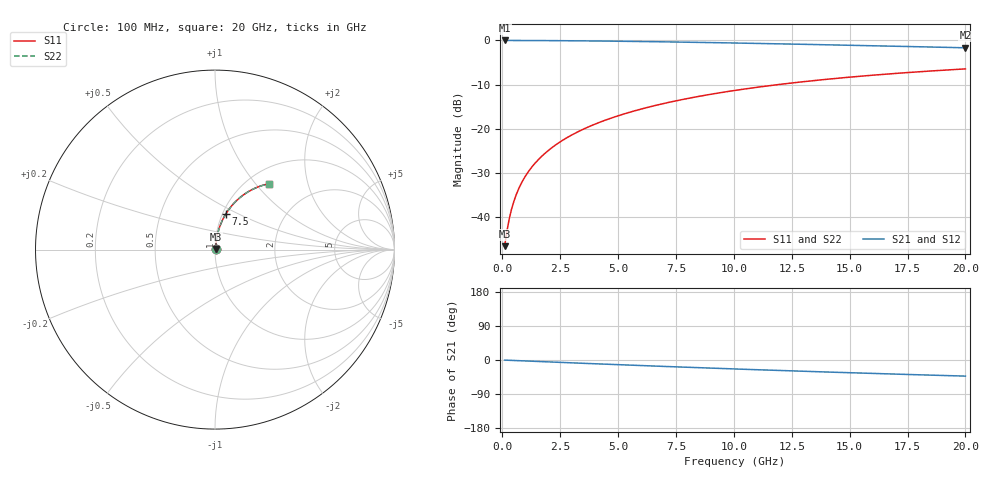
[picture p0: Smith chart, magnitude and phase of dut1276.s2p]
! Touchstone file exported from HFSS 2024.1.0
!  File:  C:/UserFiles/LocalFiles/RDL_TSV_Batchsim/temp_RDL_bottom_1276_1780246462.aedt
!  Generated:  12:56:59 AM Jun  1, 2026
!  Design:  RDL_bottom
!  Project:  temp_RDL_bottom_1276_1780246462
!  Setup:  Setup1
!  Solution:  Sweep
! Variables:
!  dtsv = 10.80580581um
!  hbump = 3um
!  htsv = 88.03um
!  ldown = 546.47um
!  lrdl = 100um
!  p = 40
!  p1 = 51.52um
!  rhole = 1um
!  t = 450um
!  tdown = 4.36um
!  trdl = 3.915915916um
!  wdown = 12.32um
!  wrdl = 20um
# GHz S MA R 50.000000
! Terminal data exported
! Port[1] = RDL1_T1
! Port[2] = RDL1_T2
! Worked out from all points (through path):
!   200 points, 100 MHz to 20 GHz, reference 50 ohm
!   highest |S21| = -0.03 dB at 100 MHz (marker M1); lowest = -1.7 dB at 20 GHz (marker M2)
!   group delay of S21, straight-line fit = 5.9 ps
!   lowest |S11| = -46.6 dB at 100 MHz (marker M3), VSWR 1.01, Z = 50.4 + j0.295 ohm
!   |S11| at or under -10 dB: start of sweep to 11.94 GHz
!   |S22| runs from -46.6 to -6.5 dB; largest |S21 - S12| = 3.2e-15
!   S11 on the Smith chart (normalised r, x): 100 MHz: 1.01, +0.01; 7.5 GHz: 1.04, +0.43; 20 GHz: 1.24, +1.18
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0.1  0.004691 38.6  0.9963 -0.3  0.9963 -0.3  0.004691 38.6
! Gamma 0 0 0 0
! Port Impedance 50 0 50 0
0.2  0.006935 57.5  0.9963 -0.5  0.9963 -0.5  0.006935 57.5
0.3  0.009556 66.4  0.9961 -0.8  0.9961 -0.8  0.009556 66.4
0.4  0.0123 71.2  0.996 -1.0  0.996 -1.0  0.0123 71.2
0.5  0.01509 74.1  0.9959 -1.3  0.9959 -1.3  0.0151 74.1
0.6  0.0179 76.1  0.9957 -1.5  0.9957 -1.5  0.0179 76.1
0.8  0.02352 78.4  0.9954 -2.0  0.9954 -2.0  0.02353 78.4
1.1  0.03193 80.1  0.9949 -2.8  0.9949 -2.8  0.03194 80.1
1.5  0.04312 81.1  0.994 -3.8  0.994 -3.8  0.04312 81.1
1.8  0.05149 81.3  0.9932 -4.5  0.9932 -4.5  0.0515 81.3
2.1  0.05987 81.3  0.9922 -5.3  0.9922 -5.3  0.05987 81.3
2.7  0.07658 81.0  0.9899 -6.8  0.9899 -6.8  0.07659 81.0
3.5  0.09878 80.1  0.9861 -8.7  0.9861 -8.7  0.09878 80.1
4.2  0.1181 79.0  0.982 -10.4  0.982 -10.4  0.1181 79.0
5  0.14 77.7  0.9768 -12.3  0.9768 -12.3  0.14 77.7
5.9  0.1643 76.1  0.9702 -14.4  0.9702 -14.4  0.1643 76.1
6.8  0.1883 74.5  0.9629 -16.5  0.9629 -16.5  0.1883 74.5
7.5  0.2067 73.2  0.9568 -18.1  0.9568 -18.1  0.2067 73.2
10.1  0.2725 68.3  0.932 -23.8  0.932 -23.8  0.2725 68.3
13.4  0.3491 62.1  0.8969 -30.5  0.8969 -30.5  0.349 62.1
16.7  0.4167 56.2  0.86 -36.7  0.86 -36.7  0.4167 56.1
20  0.475 50.6  0.8231 -42.5  0.8231 -42.5  0.4749 50.6
